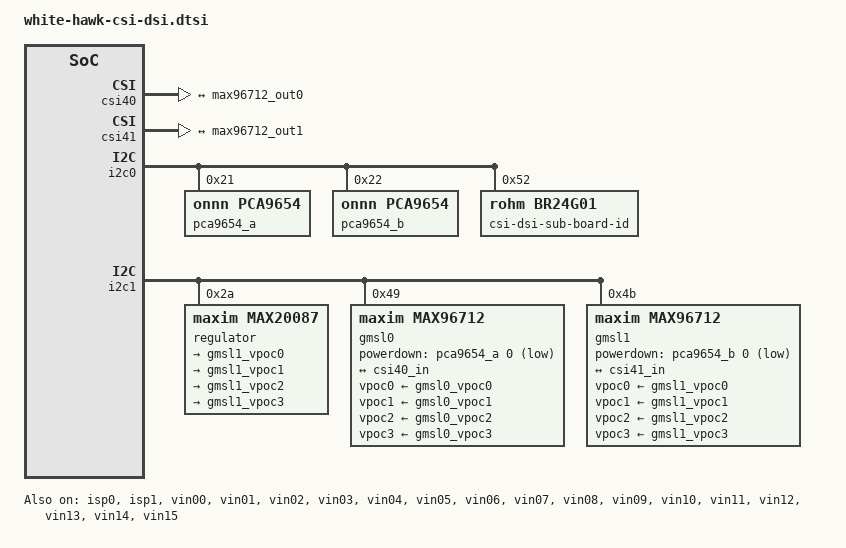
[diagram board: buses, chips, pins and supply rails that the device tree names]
// SPDX-License-Identifier: (GPL-2.0-only OR BSD-2-Clause)
/*
 * Device Tree Source for the White Hawk CSI/DSI sub-board
 *
 * Copyright (C) 2022 Glider bv
 */

#include <dt-bindings/media/video-interfaces.h>

&csi40 {
	status = "okay";

	ports {
		#address-cells = <1>;
		#size-cells = <0>;

		port@0 {
			reg = <0>;

			csi40_in: endpoint {
				bus-type = <MEDIA_BUS_TYPE_CSI2_CPHY>;
				clock-lanes = <0>;
				data-lanes = <1 2 3>;
				remote-endpoint = <&max96712_out0>;
			};
		};
	};
};

&csi41 {
	status = "okay";

	ports {
		#address-cells = <1>;
		#size-cells = <0>;

		port@0 {
			reg = <0>;

			csi41_in: endpoint {
				bus-type = <MEDIA_BUS_TYPE_CSI2_CPHY>;
				clock-lanes = <0>;
				data-lanes = <1 2 3>;
				remote-endpoint = <&max96712_out1>;
			};
		};
	};
};

&i2c0 {
	pca9654_a: gpio@21 {
		compatible = "onnn,pca9654";
		reg = <0x21>;
		gpio-controller;
		#gpio-cells = <2>;
	};

	pca9654_b: gpio@22 {
		compatible = "onnn,pca9654";
		reg = <0x22>;
		gpio-controller;
		#gpio-cells = <2>;
	};

	eeprom@52 {
		compatible = "rohm,br24g01", "atmel,24c01";
		label = "csi-dsi-sub-board-id";
		reg = <0x52>;
		pagesize = <8>;
	};
};

&i2c1 {
        regulator@28 {
		compatible = "maxim,max20087";
		reg = <0x28>;
		/* This one is somehow unreliable */
		status = "disabled";

		regulators {
			gmsl0_vpoc0: OUT1 {
				regulator-name = "GMSL0 VPOC0";
			};

			gmsl0_vpoc1: OUT2 {
				regulator-name = "GMSL0 VPOC1";
			};

			gmsl0_vpoc2: OUT3 {
				regulator-name = "GMSL0 VPOC2";
			};

			gmsl0_vpoc3: OUT4 {
				regulator-name = "GMSL0 VPOC3";
			};
		};
	};

        regulator@2a {
		compatible = "maxim,max20087";
		reg = <0x2a>;

		regulators {
			gmsl1_vpoc0: OUT1 {
				regulator-name = "GMSL1 VPOC0";
			};

			gmsl1_vpoc1: OUT2 {
				regulator-name = "GMSL1 VPOC1";
			};

			gmsl1_vpoc2: OUT3 {
				regulator-name = "GMSL1 VPOC2";
			};

			gmsl1_vpoc3: OUT4 {
				regulator-name = "GMSL1 VPOC3";
			};
		};
	};

	gmsl0: gmsl-deserializer@49 {
		compatible = "maxim,max96712";
		reg = <0x49>;
		powerdown-gpios = <&pca9654_a 0 GPIO_ACTIVE_LOW>;

		vpoc0-supply = <&gmsl0_vpoc0>;
		vpoc1-supply = <&gmsl0_vpoc1>;
		vpoc2-supply = <&gmsl0_vpoc2>;
		vpoc3-supply = <&gmsl0_vpoc3>;

		ports {
			#address-cells = <1>;
			#size-cells = <0>;

			port@5 {
				reg = <5>;
				max96712_out0: endpoint {
					bus-type = <MEDIA_BUS_TYPE_CSI2_CPHY>;
					clock-lanes = <0>;
					data-lanes = <1 2 3>;
					link-frequencies = /bits/ 64 <500000000>;
					remote-endpoint = <&csi40_in>;
				};
			};
		};
	};

	gmsl1: gmsl-deserializer@4b {
		compatible = "maxim,max96712";
		reg = <0x4b>;
		powerdown-gpios = <&pca9654_b 0 GPIO_ACTIVE_LOW>;

		vpoc0-supply = <&gmsl1_vpoc0>;
		vpoc1-supply = <&gmsl1_vpoc1>;
		vpoc2-supply = <&gmsl1_vpoc2>;
		vpoc3-supply = <&gmsl1_vpoc3>;

		ports {
			#address-cells = <1>;
			#size-cells = <0>;

			port@5 {
				reg = <5>;
				max96712_out1: endpoint {
					bus-type = <MEDIA_BUS_TYPE_CSI2_CPHY>;
					clock-lanes = <0>;
					data-lanes = <1 2 3>;
					link-frequencies = /bits/ 64 <500000000>;
					remote-endpoint = <&csi41_in>;
				};
			};
		};
	};
};

&isp0 {
	status = "okay";
};

&isp1 {
	status = "okay";
};

&vin00 {
	status = "okay";
};

&vin01 {
	status = "okay";
};

&vin02 {
	status = "okay";
};

&vin03 {
	status = "okay";
};

&vin04 {
	status = "okay";
};

&vin05 {
	status = "okay";
};

&vin06 {
	status = "okay";
};

&vin07 {
	status = "okay";
};

&vin08 {
	status = "okay";
};

&vin09 {
	status = "okay";
};

&vin10 {
	status = "okay";
};

&vin11 {
	status = "okay";
};

&vin12 {
	status = "okay";
};

&vin13 {
	status = "okay";
};

&vin14 {
	status = "okay";
};

&vin15 {
	status = "okay";
};
